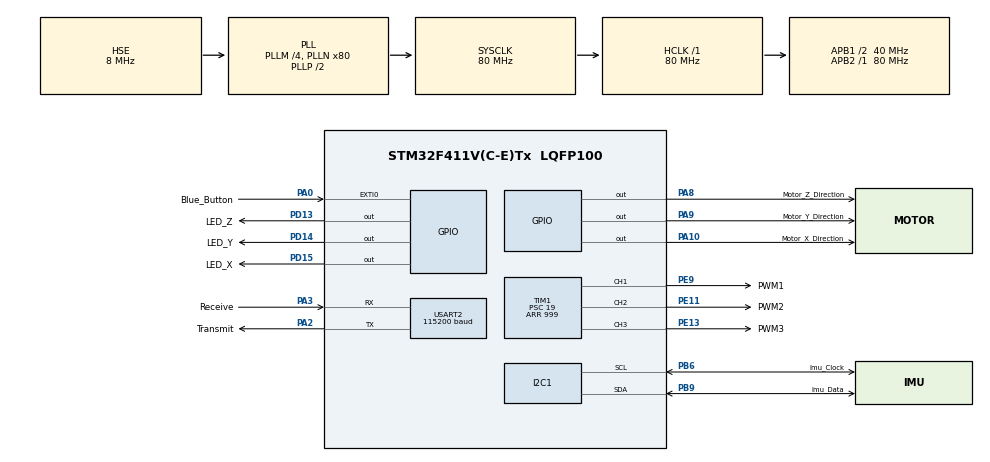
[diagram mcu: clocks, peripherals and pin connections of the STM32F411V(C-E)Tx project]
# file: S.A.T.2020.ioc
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I2C1.I2C_Mode=I2C_Standard
Mcu.Family=STM32F4
Mcu.Name=STM32F411V(C-E)Tx
Mcu.Package=LQFP100
NVIC.EXTI0_IRQn=true\:0\:0\:false\:false\:true\:true\:true
NVIC.PriorityGroup=NVIC_PRIORITYGROUP_4
NVIC.TIM2_IRQn=true\:0\:0\:false\:false\:true\:true\:true
NVIC.USART2_IRQn=true\:0\:0\:false\:false\:true\:true\:true
PA0-WKUP.GPIO_Label=Blue_Button
PA0-WKUP.Signal=GPXTI0
PA10.GPIO_Label=Motor_X_Direction
PA10.Signal=GPIO_Output
PA2.GPIO_Label=Transmit
PA2.Mode=Asynchronous
PA2.Signal=USART2_TX
PA3.GPIO_Label=Receive
PA3.Mode=Asynchronous
PA3.Signal=USART2_RX
PA8.GPIO_Label=Motor_Z_Direction
PA8.Signal=GPIO_Output
PA9.GPIO_Label=Motor_Y_Direction
PA9.Signal=GPIO_Output
PB6.GPIO_Label=Imu_Clock
PB6.Mode=I2C
PB6.Signal=I2C1_SCL
PB9.GPIO_Label=Imu_Data
PB9.Mode=I2C
PB9.Signal=I2C1_SDA
PD13.GPIO_Label=LED_Z
PD13.Signal=GPIO_Output
PD14.GPIO_Label=LED_Y
PD14.GPIO_ModeDefaultOutputPP=GPIO_MODE_OUTPUT_PP
PD14.GPIO_Speed=GPIO_SPEED_FREQ_LOW
PD14.PinState=GPIO_PIN_RESET
PD14.Signal=GPIO_Output
PD15.GPIO_Label=LED_X
PD15.Signal=GPIO_Output
PE11.GPIO_Label=PWM2
PE11.Signal=S_TIM1_CH2
PE13.GPIO_Label=PWM3
PE13.Signal=S_TIM1_CH3
PE9.GPIO_Label=PWM1
PE9.Signal=S_TIM1_CH1
PH0\ -\ OSC_IN.Mode=HSE-External-Oscillator
PH0\ -\ OSC_IN.Signal=RCC_OSC_IN
PH1\ -\ OSC_OUT.Mode=HSE-External-Oscillator
PH1\ -\ OSC_OUT.Signal=RCC_OSC_OUT
ProjectManager.HeapSize=0x200
ProjectManager.StackSize=0x400
ProjectManager.TargetToolchain=STM32CubeIDE
RCC.48MHZClocksFreq_Value=40000000
RCC.AHBFreq_Value=80000000
RCC.APB1CLKDivider=RCC_HCLK_DIV2
RCC.APB1Freq_Value=40000000
RCC.APB1TimFreq_Value=80000000
RCC.APB2Freq_Value=80000000
RCC.APB2TimFreq_Value=80000000
RCC.CortexFreq_Value=80000000
RCC.HCLKFreq_Value=80000000
RCC.HSE_VALUE=8000000
RCC.HSI_VALUE=16000000
RCC.LSE_VALUE=32768
RCC.PLLM=4
RCC.PLLN=80
RCC.PLLSourceVirtual=RCC_PLLSOURCE_HSE
RCC.SYSCLKFreq_VALUE=80000000
RCC.SYSCLKSource=RCC_SYSCLKSOURCE_PLLCLK
RCC.VCOOutputFreq_Value=160000000
SH.S_TIM1_CH1.0=TIM1_CH1,PWM Generation1 CH1
SH.S_TIM1_CH2.0=TIM1_CH2,PWM Generation2 CH2
SH.S_TIM1_CH3.0=TIM1_CH3,PWM Generation3 CH3
TIM1.AutoReloadPreload=TIM_AUTORELOAD_PRELOAD_ENABLE
TIM1.Channel-PWM\ Generation1\ CH1=TIM_CHANNEL_1
TIM1.Channel-PWM\ Generation2\ CH2=TIM_CHANNEL_2
TIM1.Channel-PWM\ Generation3\ CH3=TIM_CHANNEL_3
TIM1.Period=999
TIM1.Prescaler=19
TIM1.TIM_MasterOutputTrigger=TIM_TRGO_UPDATE
TIM2.Period=9999
TIM2.Prescaler=399
TIM3.Period=9999
TIM3.Prescaler=7999
USART2.BaudRate=115200
USART2.Mode=MODE_TX
USART2.VirtualMode=VM_ASYNC
VP_TIM1_VS_ClockSourceINT.Mode=Internal
VP_TIM2_VS_ClockSourceINT.Mode=Internal
VP_TIM3_VS_ClockSourceINT.Mode=Internal
board=custom

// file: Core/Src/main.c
/* USER CODE BEGIN Header */
/**
  ******************************************************************************
  * @file           : main.c
  * @brief          : Main program body
  ******************************************************************************
  * @attention
  *
  * <h2><center>&copy; Copyright (c) 2020 STMicroelectronics.
  * All rights reserved.</center></h2>
  *
  * This software component is licensed by ST under BSD 3-Clause license,
  * the "License"; You may not use this file except in compliance with the
  * License. You may obtain a copy of the License at:
  *                        opensource.org/licenses/BSD-3-Clause
  *
  ******************************************************************************
  */
/* USER CODE END Header */

#include "main.h"
#include "i2c.h"
#include "tim.h"
#include "usart.h"
#include "gpio.h"

/* USER CODE BEGIN Includes */
#include "bno055.h"
#include "dfrobot_imu.h"
#include "motor_driver.h"
#include "pd_algorithm.h"
#include "encoder.h"
#include <stdio.h>

/* USER CODE END Includes */

/* USER CODE BEGIN PD */

/*
 * *****************************************
 * Stable Values for Attitude Control System
 * Yaw (Heading) 	- Z
 * Pitch 			- Y
 * Roll				- X
 * *****************************************
 */
int angle_roll 	= 	0;
int angle_pitch	=	0;
int angle_yaw	=	180;

/* USER CODE END PD */

/* USER CODE BEGIN PV */
//Global Variables to read Euler data
double x,y,z;
double _z,_x,_y;
int time = 0;
unsigned int rot;
volatile int flag = 0;
//int duty;
//uint16_t pulse_count; // Licznik impulsow
//double vel = 0;

//Global variables for PD algorithm - Motor 1
double blad_1;
double ostatni_blad_1;
double pochodna_1;

//Global variables for PD algorithm - Motor 2
double blad_2;
double ostatni_blad_2;
double pochodna_2;

//Global variables for PD algorithm - Motor 3
double blad_3;
double ostatni_blad_3;
double pochodna_3;

//Variables for PD corrected values
double out_roll = 0;
double out_pitch = 0;
double out_yaw = 0;

/* USER CODE END PV */

void SystemClock_Config(void);
/* USER CODE BEGIN PFP */

void HAL_TIM_PeriodElapsedCallback(TIM_HandleTypeDef *htim)
{
	if(htim->Instance == TIM2)
	{

		 uint8_t data[100];   	// Tablica przechowujaca wysylana wiadomosc.
		 uint16_t size = 0; 	// Rozmiar wysylanej wiadomosci ++cnt;

		 //Zliczanie czasu
		 time += 200;

		 // Wysylanie informacji do zewnetrznego urzadzenia
		 size = sprintf(data, "%.4f \t %d \n\r", z, time);
		 HAL_UART_Transmit_IT(&huart2, data, size);
		 HAL_GPIO_TogglePin(GPIOD, GPIO_PIN_14);
	}
}

void HAL_GPIO_EXTI_Callback(uint16_t GPIO_Pin)
{

	if(flag == 0)
	flag = 1;

	else if (flag == 1){
	flag = 0;
	}
	//HAL_GPIO_TogglePin(GPIOD, GPIO_PIN_13);
}
/* USER CODE END PFP */

int main(void)
{
  /* USER CODE BEGIN 1 */

	//Objects for motor driver structure
	Motor_HandleTypeDef motor1;
	Motor_HandleTypeDef motor2;
	Motor_HandleTypeDef motor3;

	//Encoder object structure
	Encoder_HandleTypeDef encoder_z;

  /* USER CODE END 1 */

  /* MCU Configuration--------------------------------------------------------*/

  /* Reset of all peripherals, Initializes the Flash interface and the Systick. */
  HAL_Init();

  /* Configure the system clock */
  SystemClock_Config();

  /* Initialize all configured peripherals */
  MX_GPIO_Init();
  MX_I2C1_Init();
  MX_TIM1_Init();
  MX_TIM2_Init();
  MX_USART2_UART_Init();
  MX_TIM3_Init();
  /* USER CODE BEGIN 2 */

  //Values set for motor1 structure
  motor1.timer = &htim1;
  motor1.channel = TIM_CHANNEL_1;
  motor1.gpio_port = GPIOA;
  motor1.pin_gpio = GPIO_PIN_10;

  //Values set for motor2 structure
  motor2.timer = &htim1;
  motor2.channel = TIM_CHANNEL_2;
  motor2.gpio_port = GPIOA;
  motor2.pin_gpio = GPIO_PIN_9;

  //Values set for motor3 structure
  motor3.timer = &htim1;
  motor3.channel = TIM_CHANNEL_3;
  motor3.gpio_port = GPIOA;
  motor3.pin_gpio = GPIO_PIN_8;

  //Values set for encoder structure
  encoder_z.timer = &htim2;
  encoder_z.channel = TIM_CHANNEL_ALL;
  encoder_z.max_impulse = 600;
  encoder_z.actual_impulse = 0;

  HAL_TIM_Base_Start_IT(&htim2);

  //Start PWM for motor 1,2,3
  Start_PWM_Motor_Z(&motor1);
  Start_PWM_Motor_Z(&motor2);
  Start_PWM_Motor_Z(&motor3);

  //Initialize DFROBOT_IMU
  IMU_Initialize(&hi2c1);

  //Start timer for encoder
  Encoder_Start(&encoder_z);

  /* USER CODE END 2 */

  /* Infinite loop */
  /* USER CODE BEGIN WHILE */
  while (1)
  {

	  // IMU SENSOR
	  Euler_Data(&hi2c1, &x, &y, &z);
	  //PD algorithm for all axes

	  //Out value must be set from -1000 to 1000
	  //Cutting the noise values
	  if(out_roll >= 600) out_roll = 600;
	  else if(out_roll <= -600) out_roll = -600;

	  if(out_pitch >= 600) out_pitch = 600;
	  else if(out_pitch <= -600) out_pitch = -600;

	  if(out_yaw >= 700) out_yaw = 700;
	  else if(out_yaw <= -700) out_yaw = -700;

	  //DODATNIA W PRAWO - UJEMNA W LEWO
	  //Setting speed and rotation direction for MOTOR

	  if(blad_1 >= 0) Speed_Motor(&motor1, 1, (uint16_t)out_roll);
	  else if(blad_1 < 0) Speed_Motor(&motor1, 0, (uint16_t)(out_roll*(-1)));

	  if(blad_2 >= 0) Speed_Motor(&motor2, 1, (uint16_t)out_pitch);
	  else if(blad_2 < 0) Speed_Motor(&motor2, 0, (uint16_t)(out_pitch*(-1)));

	  if(blad_3 >= 0) Speed_Motor(&motor3, 0, (uint16_t)out_yaw);
	  else if(blad_3 < 0) Speed_Motor(&motor3, 1, (uint16_t)(out_yaw*(-1)));

	  HAL_Delay(100);

/*
	  Encoder readings
	  vel = Get_encoder_readings(&encoder_z, 0.1);
	  pulse_count = encoder_z.actual_impulse;

*/
    /* USER CODE END WHILE */

  }
}

void SystemClock_Config(void)
{
  RCC_OscInitTypeDef RCC_OscInitStruct = {0};
  RCC_ClkInitTypeDef RCC_ClkInitStruct = {0};

  /** Configure the main internal regulator output voltage
  */
  __HAL_RCC_PWR_CLK_ENABLE();
  __HAL_PWR_VOLTAGESCALING_CONFIG(PWR_REGULATOR_VOLTAGE_SCALE1);
  /** Initializes the CPU, AHB and APB busses clocks
  */
  RCC_OscInitStruct.OscillatorType = RCC_OSCILLATORTYPE_HSE;
  RCC_OscInitStruct.HSEState = RCC_HSE_ON;
  RCC_OscInitStruct.PLL.PLLState = RCC_PLL_ON;
  RCC_OscInitStruct.PLL.PLLSource = RCC_PLLSOURCE_HSE;
  RCC_OscInitStruct.PLL.PLLM = 4;
  RCC_OscInitStruct.PLL.PLLN = 80;
  RCC_OscInitStruct.PLL.PLLP = RCC_PLLP_DIV2;
  RCC_OscInitStruct.PLL.PLLQ = 4;
  if (HAL_RCC_OscConfig(&RCC_OscInitStruct) != HAL_OK)
  {
    Error_Handler();
  }
  /** Initializes the CPU, AHB and APB busses clocks
  */
  RCC_ClkInitStruct.ClockType = RCC_CLOCKTYPE_HCLK|RCC_CLOCKTYPE_SYSCLK
                              |RCC_CLOCKTYPE_PCLK1|RCC_CLOCKTYPE_PCLK2;
  RCC_ClkInitStruct.SYSCLKSource = RCC_SYSCLKSOURCE_PLLCLK;
  RCC_ClkInitStruct.AHBCLKDivider = RCC_SYSCLK_DIV1;
  RCC_ClkInitStruct.APB1CLKDivider = RCC_HCLK_DIV2;
  RCC_ClkInitStruct.APB2CLKDivider = RCC_HCLK_DIV1;

  if (HAL_RCC_ClockConfig(&RCC_ClkInitStruct, FLASH_LATENCY_2) != HAL_OK)
  {
    Error_Handler();
  }
}

void Error_Handler(void)
{
}

/************************ (C) COPYRIGHT STMicroelectronics *****END OF FILE****/
